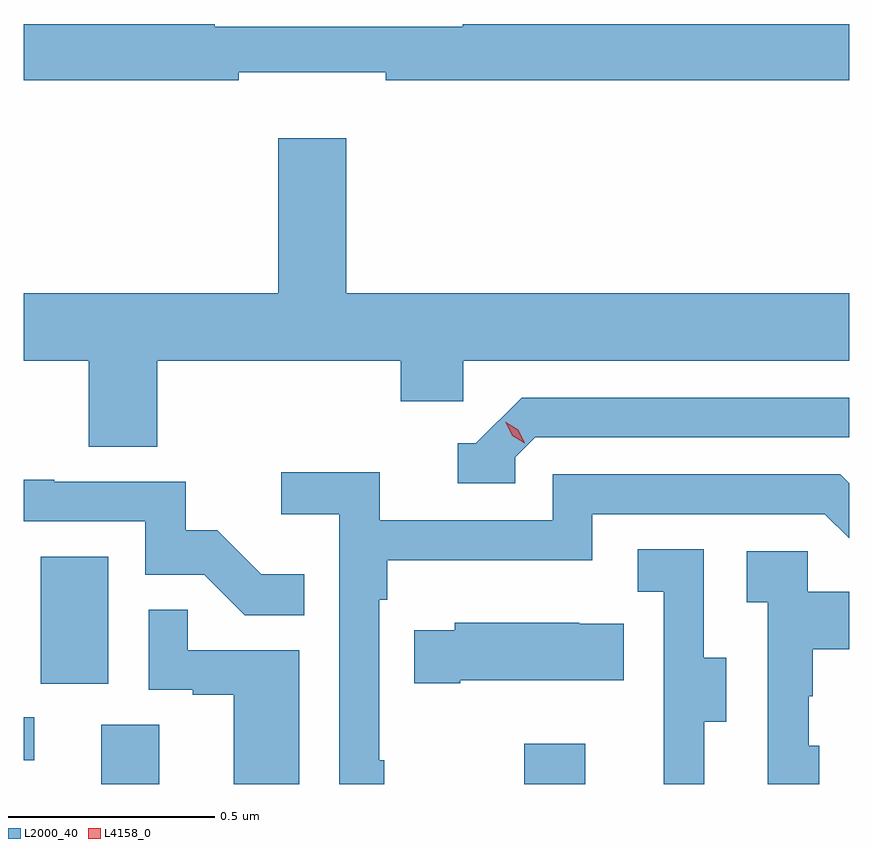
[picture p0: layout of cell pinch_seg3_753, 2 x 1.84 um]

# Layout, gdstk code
import gdstk
lib = gdstk.Library(unit=1e-6, precision=1e-09)
def R(c, l, rs):  # rectangles x0, y0, x1, y1
    for r in rs: c.add(gdstk.rectangle(r[:2], r[2:], *l))
def P(c, l, *ps):  # polygons
    for p in ps: c.add(gdstk.Polygon(p, *l))
L2000_40 = (2000, 40)
L4158_0 = (4158, 0)

pinch_seg3_753 = lib.new_cell('pinch_seg3_753')
R(pinch_seg3_753, L2000_40, [(859.883,739.851,860.023,739.994), (860.908,739.851,861.055,739.948), (859.695,739.908,859.72,740.013), (859.736,740.094,859.9,740.401)])
P(pinch_seg3_753, L2000_40, [(860.216,741.575),(860.572,741.575),(860.572,741.556),(861.695,741.556),(861.695,741.692),(860.758,741.692),(860.758,741.685),(860.158,741.685),(860.158,741.692),(859.695,741.692),(859.695,741.556),(860.216,741.556)],
  [(860.018,740.876),(860.609,740.876),(860.609,740.778),(860.76,740.778),(860.76,740.876),(861.695,740.876),(861.695,741.04),(860.476,741.04),(860.476,741.415),(860.312,741.415),(860.312,741.04),(859.695,741.04),(859.695,740.876),(859.853,740.876),(859.853,740.668),(860.018,740.668)],
  [(860.886,740.643),(860.934,740.691),(861.695,740.691),(861.695,740.787),(860.901,740.787),(860.79,740.676),(860.747,740.676),(860.747,740.58),(860.886,740.58)],
  [(860.569,739.909),(860.556,739.909),(860.556,740.297),(860.576,740.297),(860.576,740.393),(861.072,740.393),(861.072,740.505),(861.636,740.505),(861.695,740.446),(861.695,740.579),(861.673,740.601),(860.976,740.601),(860.976,740.49),(860.558,740.49),(860.558,740.606),(860.319,740.606),(860.319,740.504),(860.46,740.504),(860.46,739.851),(860.569,739.851)],
  [(860.375,740.359),(860.271,740.359),(860.164,740.466),(860.088,740.466),(860.088,740.583),(859.769,740.583),(859.769,740.588),(859.695,740.588),(859.695,740.487),(859.989,740.487),(859.989,740.358),(860.133,740.358),(860.231,740.26),(860.375,740.26)],
  [(861.343,740.002),(861.397,740.002),(861.397,740.157),(861.342,740.157),(861.342,740.42),(861.183,740.42),(861.183,740.317),(861.246,740.317),(861.246,740.013),(861.245,740.013),(861.245,739.851),(861.343,739.851)],
  [(861.622,739.944),(861.597,739.944),(861.597,740.063),(861.607,740.063),(861.607,740.177),(861.695,740.177),(861.695,740.317),(861.594,740.317),(861.594,740.415),(861.447,740.415),(861.447,740.291),(861.498,740.291),(861.498,739.851),(861.622,739.851)],
  [(860.362,740.175),(860.093,740.175),(860.093,740.273),(859.998,740.273),(859.998,740.079),(860.105,740.079),(860.105,740.067),(860.204,740.067),(860.204,739.851),(860.362,739.851)],
  [(860.752,740.102),(861.149,740.102),(861.149,740.239),(861.041,740.239),(861.041,740.242),(860.739,740.242),(860.739,740.224),(860.641,740.224),(860.641,740.095),(860.752,740.095)])
P(pinch_seg3_753, L4158_0, [(860.909,740.676),(860.878,740.695),(860.861,740.728),(860.861,740.728),(860.862,740.728),(860.893,740.709),(860.909,740.676),(860.909,740.676)])

lib.write_gds('pinch_seg3_753.gds')
